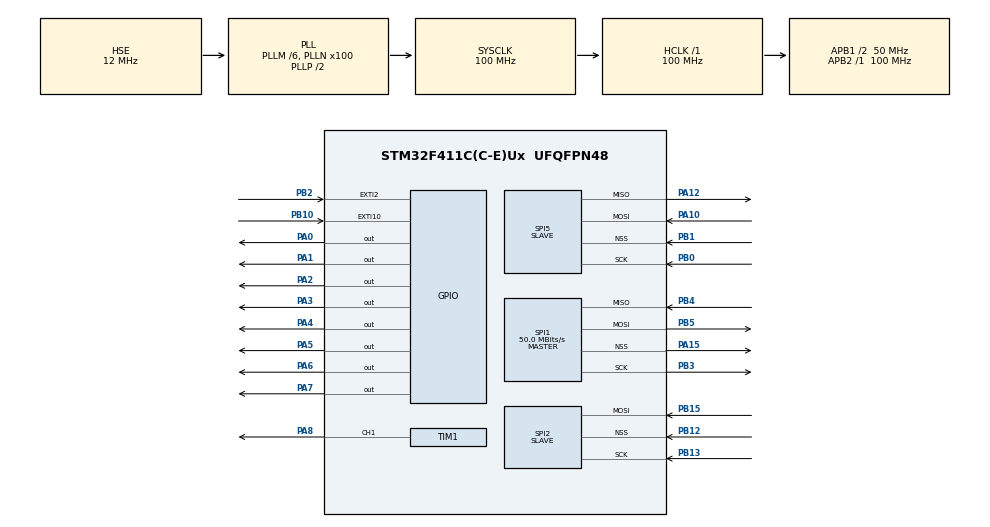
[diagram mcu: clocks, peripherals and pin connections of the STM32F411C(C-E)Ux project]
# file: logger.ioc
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Dma.Request0=SPI2_RX
Dma.Request1=SPI5_RX
Dma.Request2=TIM1_CH1
Dma.Request3=SPI1_TX
Dma.Request4=SPI1_RX
Dma.SPI1_RX.4.Direction=DMA_PERIPH_TO_MEMORY
Dma.SPI1_RX.4.FIFOMode=DMA_FIFOMODE_DISABLE
Dma.SPI1_RX.4.Instance=DMA2_Stream0
Dma.SPI1_RX.4.MemDataAlignment=DMA_MDATAALIGN_BYTE
Dma.SPI1_RX.4.MemInc=DMA_MINC_ENABLE
Dma.SPI1_RX.4.Mode=DMA_NORMAL
Dma.SPI1_RX.4.PeriphDataAlignment=DMA_PDATAALIGN_BYTE
Dma.SPI1_RX.4.PeriphInc=DMA_PINC_DISABLE
Dma.SPI1_RX.4.Priority=DMA_PRIORITY_LOW
Dma.SPI1_TX.3.Direction=DMA_MEMORY_TO_PERIPH
Dma.SPI1_TX.3.FIFOMode=DMA_FIFOMODE_DISABLE
Dma.SPI1_TX.3.Instance=DMA2_Stream2
Dma.SPI1_TX.3.MemDataAlignment=DMA_MDATAALIGN_BYTE
Dma.SPI1_TX.3.MemInc=DMA_MINC_ENABLE
Dma.SPI1_TX.3.Mode=DMA_NORMAL
Dma.SPI1_TX.3.PeriphDataAlignment=DMA_PDATAALIGN_BYTE
Dma.SPI1_TX.3.PeriphInc=DMA_PINC_DISABLE
Dma.SPI1_TX.3.Priority=DMA_PRIORITY_LOW
Dma.SPI2_RX.0.Direction=DMA_PERIPH_TO_MEMORY
Dma.SPI2_RX.0.FIFOMode=DMA_FIFOMODE_DISABLE
Dma.SPI2_RX.0.Instance=DMA1_Stream3
Dma.SPI2_RX.0.MemDataAlignment=DMA_MDATAALIGN_BYTE
Dma.SPI2_RX.0.MemInc=DMA_MINC_ENABLE
Dma.SPI2_RX.0.Mode=DMA_NORMAL
Dma.SPI2_RX.0.PeriphDataAlignment=DMA_PDATAALIGN_BYTE
Dma.SPI2_RX.0.PeriphInc=DMA_PINC_DISABLE
Dma.SPI2_RX.0.Priority=DMA_PRIORITY_LOW
Dma.SPI5_RX.1.Direction=DMA_PERIPH_TO_MEMORY
Dma.SPI5_RX.1.FIFOMode=DMA_FIFOMODE_DISABLE
Dma.SPI5_RX.1.Instance=DMA2_Stream3
Dma.SPI5_RX.1.MemDataAlignment=DMA_MDATAALIGN_BYTE
Dma.SPI5_RX.1.MemInc=DMA_MINC_ENABLE
Dma.SPI5_RX.1.Mode=DMA_NORMAL
Dma.SPI5_RX.1.PeriphDataAlignment=DMA_PDATAALIGN_BYTE
Dma.SPI5_RX.1.PeriphInc=DMA_PINC_DISABLE
Dma.SPI5_RX.1.Priority=DMA_PRIORITY_LOW
Dma.TIM1_CH1.2.Direction=DMA_MEMORY_TO_PERIPH
Dma.TIM1_CH1.2.FIFOMode=DMA_FIFOMODE_DISABLE
Dma.TIM1_CH1.2.Instance=DMA2_Stream1
Dma.TIM1_CH1.2.MemDataAlignment=DMA_MDATAALIGN_BYTE
Dma.TIM1_CH1.2.MemInc=DMA_MINC_ENABLE
Dma.TIM1_CH1.2.Mode=DMA_NORMAL
Dma.TIM1_CH1.2.PeriphDataAlignment=DMA_PDATAALIGN_BYTE
Dma.TIM1_CH1.2.PeriphInc=DMA_PINC_DISABLE
Dma.TIM1_CH1.2.Priority=DMA_PRIORITY_VERY_HIGH
FREERTOS.Tasks01=defaultTask,24,128,StartDefaultTask,Default,NULL,Dynamic,NULL,NULL
Mcu.Family=STM32F4
Mcu.Name=STM32F411C(C-E)Ux
Mcu.Package=UFQFPN48
NVIC.DMA1_Stream3_IRQn=true\:5\:0\:false\:false\:true\:true\:false\:true\:true
NVIC.DMA2_Stream0_IRQn=true\:5\:0\:false\:false\:true\:true\:false\:true\:true
NVIC.DMA2_Stream1_IRQn=true\:0\:0\:false\:false\:true\:false\:false\:true\:true
NVIC.DMA2_Stream2_IRQn=true\:5\:0\:false\:false\:true\:true\:false\:true\:true
NVIC.DMA2_Stream3_IRQn=true\:5\:0\:false\:false\:true\:true\:false\:true\:true
NVIC.EXTI15_10_IRQn=true\:5\:0\:false\:false\:true\:true\:true\:true\:true
NVIC.EXTI2_IRQn=true\:5\:0\:false\:false\:true\:true\:true\:true\:true
NVIC.PriorityGroup=NVIC_PRIORITYGROUP_4
NVIC.SPI2_IRQn=true\:5\:0\:false\:false\:true\:true\:true\:true\:true
NVIC.SPI5_IRQn=true\:5\:0\:false\:false\:true\:true\:true\:true\:true
NVIC.TIM2_IRQn=true\:15\:0\:false\:false\:true\:false\:false\:true\:true
NVIC.TimeBase=TIM2_IRQn
NVIC.TimeBaseIP=TIM2
PA0-WKUP.GPIO_PuPd=GPIO_NOPULL
PA0-WKUP.GPIO_Speed=GPIO_SPEED_FREQ_VERY_HIGH
PA0-WKUP.Signal=GPIO_Output
PA1.GPIO_PuPd=GPIO_NOPULL
PA1.GPIO_Speed=GPIO_SPEED_FREQ_VERY_HIGH
PA1.Signal=GPIO_Output
PA10.Mode=Full_Duplex_Slave
PA10.Signal=SPI5_MOSI
PA12.Mode=Full_Duplex_Slave
PA12.Signal=SPI5_MISO
PA13.Mode=Serial_Wire
PA13.Signal=SYS_JTMS-SWDIO
PA14.Mode=Serial_Wire
PA14.Signal=SYS_JTCK-SWCLK
PA15.Mode=NSS_Signal_Hard_Output
PA15.Signal=SPI1_NSS
PA2.GPIO_PuPd=GPIO_NOPULL
PA2.GPIO_Speed=GPIO_SPEED_FREQ_VERY_HIGH
PA2.Signal=GPIO_Output
PA3.GPIO_PuPd=GPIO_NOPULL
PA3.GPIO_Speed=GPIO_SPEED_FREQ_VERY_HIGH
PA3.Signal=GPIO_Output
PA4.GPIO_PuPd=GPIO_NOPULL
PA4.GPIO_Speed=GPIO_SPEED_FREQ_VERY_HIGH
PA4.Signal=GPIO_Output
PA5.GPIO_PuPd=GPIO_NOPULL
PA5.GPIO_Speed=GPIO_SPEED_FREQ_VERY_HIGH
PA5.Signal=GPIO_Output
PA6.GPIO_PuPd=GPIO_NOPULL
PA6.GPIO_Speed=GPIO_SPEED_FREQ_VERY_HIGH
PA6.Signal=GPIO_Output
PA7.GPIO_PuPd=GPIO_NOPULL
PA7.GPIO_Speed=GPIO_SPEED_FREQ_VERY_HIGH
PA7.PinState=GPIO_PIN_RESET
PA7.Signal=GPIO_Output
PA8.GPIO_PuPd=GPIO_NOPULL
PA8.GPIO_Speed=GPIO_SPEED_FREQ_VERY_HIGH
PA8.Signal=S_TIM1_CH1
PB0.Mode=Full_Duplex_Slave
PB0.Signal=SPI5_SCK
PB1.Mode=NSS_Signal_Hard_Input
PB1.Signal=SPI5_NSS
PB10.Signal=GPXTI10
PB12.Mode=NSS_Signal_Hard_Input
PB12.Signal=SPI2_NSS
PB13.Mode=RX_Only_Simplex_Unidirect_Slave
PB13.Signal=SPI2_SCK
PB15.Mode=RX_Only_Simplex_Unidirect_Slave
PB15.Signal=SPI2_MOSI
PB2.Signal=GPXTI2
PB3.Mode=Full_Duplex_Master
PB3.Signal=SPI1_SCK
PB4.Mode=Full_Duplex_Master
PB4.Signal=SPI1_MISO
PB5.Mode=Full_Duplex_Master
PB5.Signal=SPI1_MOSI
PH0\ -\ OSC_IN.Mode=HSE-External-Oscillator
PH0\ -\ OSC_IN.Signal=RCC_OSC_IN
PH1\ -\ OSC_OUT.Mode=HSE-External-Oscillator
PH1\ -\ OSC_OUT.Signal=RCC_OSC_OUT
ProjectManager.HeapSize=0x200
ProjectManager.StackSize=0x400
ProjectManager.TargetToolchain=CMake
RCC.48MHZClocksFreq_Value=50000000
RCC.AHBFreq_Value=100000000
RCC.APB1CLKDivider=RCC_HCLK_DIV2
RCC.APB1Freq_Value=50000000
RCC.APB1TimFreq_Value=100000000
RCC.APB2Freq_Value=100000000
RCC.APB2TimFreq_Value=100000000
RCC.CortexFreq_Value=100000000
RCC.HCLKFreq_Value=100000000
RCC.HSE_VALUE=12000000
RCC.HSI_VALUE=16000000
RCC.LSE_VALUE=32768
RCC.PLLM=6
RCC.PLLN=100
RCC.PLLSourceVirtual=RCC_PLLSOURCE_HSE
RCC.SYSCLKFreq_VALUE=100000000
RCC.SYSCLKSource=RCC_SYSCLKSOURCE_PLLCLK
RCC.VCOOutputFreq_Value=200000000
SH.S_TIM1_CH1.0=TIM1_CH1,PWM Generation1 CH1
SPI1.CLKPhase=SPI_PHASE_2EDGE
SPI1.CLKPolarity=SPI_POLARITY_HIGH
SPI1.CalculateBaudRate=50.0 MBits/s
SPI1.Direction=SPI_DIRECTION_2LINES
SPI1.Mode=SPI_MODE_MASTER
SPI1.VirtualNSS=VM_NSSHARD
SPI1.VirtualType=VM_MASTER
SPI2.CLKPhase=SPI_PHASE_2EDGE
SPI2.CLKPolarity=SPI_POLARITY_HIGH
SPI2.Direction=SPI_DIRECTION_2LINES_RXONLY
SPI2.Mode=SPI_MODE_SLAVE
SPI2.VirtualNSS=VM_NSSHARD
SPI2.VirtualType=VM_SLAVE
SPI5.CLKPhase=SPI_PHASE_2EDGE
SPI5.CLKPolarity=SPI_POLARITY_HIGH
SPI5.Direction=SPI_DIRECTION_2LINES
SPI5.Mode=SPI_MODE_SLAVE
SPI5.VirtualNSS=VM_NSSHARD
SPI5.VirtualType=VM_SLAVE
TIM1.Channel-PWM\ Generation1\ CH1=TIM_CHANNEL_1
TIM1.OCFastMode_PWM-PWM\ Generation1\ CH1=TIM_OCFAST_DISABLE
TIM1.Period=10
TIM1.Prescaler=1
TIM1.Pulse-PWM\ Generation1\ CH1=5
TIM1.TIM_MasterOutputTrigger=TIM_TRGO_OC1REF
TIM1.TIM_MasterSlaveMode=TIM_MASTERSLAVEMODE_DISABLE
VP_FATFS_VS_Generic.Mode=User_defined
VP_FREERTOS_VS_CMSIS_V2.Mode=CMSIS_V2
VP_SYS_VS_tim2.Mode=TIM2
board=custom

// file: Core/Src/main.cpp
/* USER CODE BEGIN Header */
/**
  ******************************************************************************
  * @file           : main.c
  * @brief          : Main program body
  ******************************************************************************
  * @attention
  *
  * Copyright (c) 2024 STMicroelectronics.
  * All rights reserved.
  *
  * This software is licensed under terms that can be found in the LICENSE file
  * in the root directory of this software component.
  * If no LICENSE file comes with this software, it is provided AS-IS.
  *
  ******************************************************************************
  */
/* USER CODE END Header */
#include "main.h"
#include "cmsis_os.h"
/* USER CODE BEGIN Includes */
//#include "GpioDriver.hpp"
#include "SpiSlave.hpp"
#include "Parallel.hpp"
#include "semphr.h"
#include "W25M02Gvz.h"
#include "Gpio.hpp"
/* USER CODE END Includes */

SPI_HandleTypeDef hspi1;
SPI_HandleTypeDef hspi2;
SPI_HandleTypeDef hspi5;
DMA_HandleTypeDef hdma_spi1_tx;
DMA_HandleTypeDef hdma_spi1_rx;
DMA_HandleTypeDef hdma_spi2_rx;
DMA_HandleTypeDef hdma_spi5_rx;

TIM_HandleTypeDef htim1;
DMA_HandleTypeDef hdma_tim1_ch1;

/* Definitions for defaultTask */
osThreadId_t defaultTaskHandle;
const osThreadAttr_t defaultTask_attributes = {
    .name = "defaultTask",
    .stack_size = 128 * 4,
    .priority = (osPriority_t) osPriorityNormal,
};
/* USER CODE BEGIN PV */
osThreadId_t defaultTaskHandle2;
const osThreadAttr_t defaultTask_attributes2 = {
    .name = "defaultTask2",
    .stack_size = 128 * 32,
    .priority = (osPriority_t) osPriorityNormal,
};
uint8_t spi_mpu_rx_buffer[512];
uint8_t spi_vpu_rx_buffer[128*128+30];
SpiSlave mpu_spi("mpu spi", hspi2);
SpiSlave vpu_spi("vpu spi", hspi5);
Parallel parallel("pc parallel", &hdma_tim1_ch1, TIM_DMA_CC1, &htim1, TIM_CHANNEL_1, (uint32_t)(&GPIOA->ODR));

uint32_t GetTime()
{
  return osKernelGetTickCount();
}

Gpio mem_nss("flash nss", GPIOA, GPIO_PIN_15);
W25M02Gvz mem("logger memory", hspi1, hdma_spi1_rx, hdma_spi1_tx, &mem_nss);
SemaphoreHandle_t dataReadySemaphore = xSemaphoreCreateBinary();
__attribute__((weak)) extern int Program(driver *board_devices[10], size_t number);
driver *board_devices[10];
/* USER CODE END PV */

void SystemClock_Config(void);
static void MX_GPIO_Init(void);
static void MX_DMA_Init(void);
static void MX_SPI2_Init(void);
static void MX_SPI5_Init(void);
static void MX_TIM1_Init(void);
static void MX_SPI1_Init(void);
void StartDefaultTask(void *argument);

/* USER CODE BEGIN PFP */

Task TestReceiveMpu()
{
  while (1)
  {
    mpu_spi.ReadAsync(spi_mpu_rx_buffer, 336);
    co_await mpu_spi.Await();
    if(mpu_spi.is_received_)
    {
//      printf("mpu is received\n");
    }
    else
    {
      printf("mpu is not received\n");
    }
  }
}
Task TestReceiveVpu()
{
  while (1)
  {
    vpu_spi.ReadAsync(spi_vpu_rx_buffer, 4);
    co_await vpu_spi.Await();
    if(vpu_spi.is_received_)
    {
      printf("vpu is received\n");
    }
    else
    {
      printf("vpu is not received\n");
    }
  }
}
/* USER CODE END PFP */

/* USER CODE BEGIN 0 */
void MpuSpiTask(void *argument)
{
  /* USER CODE BEGIN 5 */
  Program(board_devices, 10);
  /* Infinite loop */

//  Task mpu_task = TestReceiveMpu();
//  mpu_task.Start();
//  for(;;)
//  {
//    osThreadYield();
//    if (xSemaphoreTake(dataReadySemaphore, pdMS_TO_TICKS(100)) == pdTRUE) {
//
////            TIM1->CCMR1 = 0x00000010;
//      printf("start parallel\n");
////      osDelay(100);
//      parallel.WriteAsync(asrc_buffer, 49);
////      TIM1->CR1 |= TIM_CR1_CEN;
//
//
//    }
//    else{
//
//    }
//    vpu_spi.CheckResume();
//    mpu_spi.CheckResume();
//  }
  /* USER CODE END 5 */
}
/* USER CODE END 0 */

int main(void)
{

  /* MCU Configuration--------------------------------------------------------*/

  /* Reset of all peripherals, Initializes the Flash interface and the Systick. */
  HAL_Init();

  /* Configure the system clock */
  SystemClock_Config();

  /* Initialize all configured peripherals */
  MX_GPIO_Init();
  MX_DMA_Init();
  MX_SPI2_Init();
  MX_SPI5_Init();
  MX_TIM1_Init();
  MX_SPI1_Init();
  /* USER CODE BEGIN 2 */
  if (HAL_TIM_PWM_Stop(&htim1, TIM_CHANNEL_1) != HAL_OK)
  {
    /* PWM Generation Error */
    Error_Handler();
  }
  if(!mem.Init())
  {
    Error_Handler();
  }
//  mem.GlobalMemTest(spi_vpu_rx_buffer);
  board_devices[0] = &parallel;
  board_devices[1] = &vpu_spi;
  board_devices[2] = &mpu_spi;
  board_devices[3] = &mem;
  /* USER CODE END 2 */

  /* Init scheduler */
  osKernelInitialize();

  /* Create the thread(s) */
  /* creation of defaultTask */
  defaultTaskHandle = osThreadNew(StartDefaultTask, NULL, &defaultTask_attributes);

  /* USER CODE BEGIN RTOS_THREADS */
  /* add threads, ... */
  defaultTaskHandle2 = osThreadNew(MpuSpiTask, NULL, &defaultTask_attributes2);
  /* USER CODE END RTOS_THREADS */

  /* Start scheduler */
  osKernelStart();

  /* We should never get here as control is now taken by the scheduler */

  /* Infinite loop */
  while (1)
  {

  }
}

void SystemClock_Config(void)
{
  RCC_OscInitTypeDef RCC_OscInitStruct = {0};
  RCC_ClkInitTypeDef RCC_ClkInitStruct = {0};

  /** Configure the main internal regulator output voltage
  */
  __HAL_RCC_PWR_CLK_ENABLE();
  __HAL_PWR_VOLTAGESCALING_CONFIG(PWR_REGULATOR_VOLTAGE_SCALE1);

  /** Initializes the RCC Oscillators according to the specified parameters
  * in the RCC_OscInitTypeDef structure.
  */
  RCC_OscInitStruct.OscillatorType = RCC_OSCILLATORTYPE_HSE;
  RCC_OscInitStruct.HSEState = RCC_HSE_ON;
  RCC_OscInitStruct.PLL.PLLState = RCC_PLL_ON;
  RCC_OscInitStruct.PLL.PLLSource = RCC_PLLSOURCE_HSE;
  RCC_OscInitStruct.PLL.PLLM = 6;
  RCC_OscInitStruct.PLL.PLLN = 100;
  RCC_OscInitStruct.PLL.PLLP = RCC_PLLP_DIV2;
  RCC_OscInitStruct.PLL.PLLQ = 4;
  if (HAL_RCC_OscConfig(&RCC_OscInitStruct) != HAL_OK)
  {
    Error_Handler();
  }

  /** Initializes the CPU, AHB and APB buses clocks
  */
  RCC_ClkInitStruct.ClockType = RCC_CLOCKTYPE_HCLK|RCC_CLOCKTYPE_SYSCLK
      |RCC_CLOCKTYPE_PCLK1|RCC_CLOCKTYPE_PCLK2;
  RCC_ClkInitStruct.SYSCLKSource = RCC_SYSCLKSOURCE_PLLCLK;
  RCC_ClkInitStruct.AHBCLKDivider = RCC_SYSCLK_DIV1;
  RCC_ClkInitStruct.APB1CLKDivider = RCC_HCLK_DIV2;
  RCC_ClkInitStruct.APB2CLKDivider = RCC_HCLK_DIV1;

  if (HAL_RCC_ClockConfig(&RCC_ClkInitStruct, FLASH_LATENCY_3) != HAL_OK)
  {
    Error_Handler();
  }
}

static void MX_SPI1_Init(void)
{

  /* SPI1 parameter configuration*/
  hspi1.Instance = SPI1;
  hspi1.Init.Mode = SPI_MODE_MASTER;
  hspi1.Init.Direction = SPI_DIRECTION_2LINES;
  hspi1.Init.DataSize = SPI_DATASIZE_8BIT;
  hspi1.Init.CLKPolarity = SPI_POLARITY_HIGH;
  hspi1.Init.CLKPhase = SPI_PHASE_2EDGE;
  hspi1.Init.NSS = SPI_NSS_SOFT;
  hspi1.Init.BaudRatePrescaler = SPI_BAUDRATEPRESCALER_2;
  hspi1.Init.FirstBit = SPI_FIRSTBIT_MSB;
  hspi1.Init.TIMode = SPI_TIMODE_DISABLE;
  hspi1.Init.CRCCalculation = SPI_CRCCALCULATION_DISABLE;
  hspi1.Init.CRCPolynomial = 0;
  if (HAL_SPI_Init(&hspi1) != HAL_OK)
  {
    Error_Handler();
  }

}

static void MX_SPI2_Init(void)
{

  /* SPI2 parameter configuration*/
  hspi2.Instance = SPI2;
  hspi2.Init.Mode = SPI_MODE_SLAVE;
  hspi2.Init.Direction = SPI_DIRECTION_2LINES_RXONLY;
  hspi2.Init.DataSize = SPI_DATASIZE_8BIT;
  hspi2.Init.CLKPolarity = SPI_POLARITY_HIGH;
  hspi2.Init.CLKPhase = SPI_PHASE_2EDGE;
  hspi2.Init.NSS = SPI_NSS_HARD_INPUT;
  hspi2.Init.FirstBit = SPI_FIRSTBIT_MSB;
  hspi2.Init.TIMode = SPI_TIMODE_DISABLE;
  hspi2.Init.CRCCalculation = SPI_CRCCALCULATION_DISABLE;
  hspi2.Init.CRCPolynomial = 10;
  if (HAL_SPI_Init(&hspi2) != HAL_OK)
  {
    Error_Handler();
  }

}

static void MX_SPI5_Init(void)
{

  /* SPI5 parameter configuration*/
  hspi5.Instance = SPI5;
  hspi5.Init.Mode = SPI_MODE_SLAVE;
  hspi5.Init.Direction = SPI_DIRECTION_2LINES;
  hspi5.Init.DataSize = SPI_DATASIZE_8BIT;
  hspi5.Init.CLKPolarity = SPI_POLARITY_HIGH;
  hspi5.Init.CLKPhase = SPI_PHASE_2EDGE;
  hspi5.Init.NSS = SPI_NSS_HARD_INPUT;
  hspi5.Init.FirstBit = SPI_FIRSTBIT_MSB;
  hspi5.Init.TIMode = SPI_TIMODE_DISABLE;
  hspi5.Init.CRCCalculation = SPI_CRCCALCULATION_DISABLE;
  hspi5.Init.CRCPolynomial = 10;
  if (HAL_SPI_Init(&hspi5) != HAL_OK)
  {
    Error_Handler();
  }

}

static void MX_TIM1_Init(void)
{

  TIM_MasterConfigTypeDef sMasterConfig = {0};
  TIM_OC_InitTypeDef sConfigOC = {0};
  TIM_BreakDeadTimeConfigTypeDef sBreakDeadTimeConfig = {0};

  htim1.Instance = TIM1;
  htim1.Init.Prescaler = 1;
  htim1.Init.CounterMode = TIM_COUNTERMODE_UP;
  htim1.Init.Period = 10;
  htim1.Init.ClockDivision = TIM_CLOCKDIVISION_DIV1;
  htim1.Init.RepetitionCounter = 0;
  htim1.Init.AutoReloadPreload = TIM_AUTORELOAD_PRELOAD_DISABLE;
  if (HAL_TIM_PWM_Init(&htim1) != HAL_OK)
  {
    Error_Handler();
  }
  sMasterConfig.MasterOutputTrigger = TIM_TRGO_OC1REF;
  sMasterConfig.MasterSlaveMode = TIM_MASTERSLAVEMODE_DISABLE;
  if (HAL_TIMEx_MasterConfigSynchronization(&htim1, &sMasterConfig) != HAL_OK)
  {
    Error_Handler();
  }
  sConfigOC.OCMode = TIM_OCMODE_PWM1;
  sConfigOC.Pulse = 5;
  sConfigOC.OCPolarity = TIM_OCPOLARITY_HIGH;
  sConfigOC.OCNPolarity = TIM_OCNPOLARITY_HIGH;
  sConfigOC.OCFastMode = TIM_OCFAST_DISABLE;
  sConfigOC.OCIdleState = TIM_OCIDLESTATE_RESET;
  sConfigOC.OCNIdleState = TIM_OCNIDLESTATE_RESET;
  if (HAL_TIM_PWM_ConfigChannel(&htim1, &sConfigOC, TIM_CHANNEL_1) != HAL_OK)
  {
    Error_Handler();
  }
  sBreakDeadTimeConfig.OffStateRunMode = TIM_OSSR_DISABLE;
  sBreakDeadTimeConfig.OffStateIDLEMode = TIM_OSSI_DISABLE;
  sBreakDeadTimeConfig.LockLevel = TIM_LOCKLEVEL_OFF;
  sBreakDeadTimeConfig.DeadTime = 0;
  sBreakDeadTimeConfig.BreakState = TIM_BREAK_DISABLE;
  sBreakDeadTimeConfig.BreakPolarity = TIM_BREAKPOLARITY_HIGH;
  sBreakDeadTimeConfig.AutomaticOutput = TIM_AUTOMATICOUTPUT_DISABLE;
  if (HAL_TIMEx_ConfigBreakDeadTime(&htim1, &sBreakDeadTimeConfig) != HAL_OK)
  {
    Error_Handler();
  }
  HAL_TIM_MspPostInit(&htim1);

}

static void MX_DMA_Init(void)
{

  /* DMA controller clock enable */
  __HAL_RCC_DMA1_CLK_ENABLE();
  __HAL_RCC_DMA2_CLK_ENABLE();

  /* DMA interrupt init */
  /* DMA1_Stream3_IRQn interrupt configuration */
  HAL_NVIC_SetPriority(DMA1_Stream3_IRQn, 5, 0);
  HAL_NVIC_EnableIRQ(DMA1_Stream3_IRQn);
  /* DMA2_Stream0_IRQn interrupt configuration */
  HAL_NVIC_SetPriority(DMA2_Stream0_IRQn, 5, 0);
  HAL_NVIC_EnableIRQ(DMA2_Stream0_IRQn);
  /* DMA2_Stream1_IRQn interrupt configuration */
  HAL_NVIC_SetPriority(DMA2_Stream1_IRQn, 0, 0);
  HAL_NVIC_EnableIRQ(DMA2_Stream1_IRQn);
  /* DMA2_Stream2_IRQn interrupt configuration */
  HAL_NVIC_SetPriority(DMA2_Stream2_IRQn, 5, 0);
  HAL_NVIC_EnableIRQ(DMA2_Stream2_IRQn);
  /* DMA2_Stream3_IRQn interrupt configuration */
  HAL_NVIC_SetPriority(DMA2_Stream3_IRQn, 5, 0);
  HAL_NVIC_EnableIRQ(DMA2_Stream3_IRQn);

}

static void MX_GPIO_Init(void)
{
  GPIO_InitTypeDef GPIO_InitStruct = {0};

  /* GPIO Ports Clock Enable */
  __HAL_RCC_GPIOH_CLK_ENABLE();
  __HAL_RCC_GPIOA_CLK_ENABLE();
  __HAL_RCC_GPIOB_CLK_ENABLE();

  /*Configure GPIO pin Output Level */
  HAL_GPIO_WritePin(GPIOA, GPIO_PIN_0|GPIO_PIN_1|GPIO_PIN_2|GPIO_PIN_3
      |GPIO_PIN_4|GPIO_PIN_5|GPIO_PIN_6|GPIO_PIN_7, GPIO_PIN_RESET);

  /*Configure GPIO pins : PA0 PA1 PA2 PA3
                           PA4 PA5 PA6 PA7 */
  GPIO_InitStruct.Pin = GPIO_PIN_0|GPIO_PIN_1|GPIO_PIN_2|GPIO_PIN_3
      |GPIO_PIN_4|GPIO_PIN_5|GPIO_PIN_6|GPIO_PIN_7;
  GPIO_InitStruct.Mode = GPIO_MODE_OUTPUT_PP;
  GPIO_InitStruct.Pull = GPIO_NOPULL;
  GPIO_InitStruct.Speed = GPIO_SPEED_FREQ_VERY_HIGH;
  HAL_GPIO_Init(GPIOA, &GPIO_InitStruct);

  /*Configure GPIO pins : PB2 PB10 */
  GPIO_InitStruct.Pin = GPIO_PIN_2|GPIO_PIN_10;
  GPIO_InitStruct.Mode = GPIO_MODE_IT_RISING;
  GPIO_InitStruct.Pull = GPIO_NOPULL;
  HAL_GPIO_Init(GPIOB, &GPIO_InitStruct);

  /* EXTI interrupt init*/
  HAL_NVIC_SetPriority(EXTI2_IRQn, 5, 0);
  HAL_NVIC_EnableIRQ(EXTI2_IRQn);

  HAL_NVIC_SetPriority(EXTI15_10_IRQn, 5, 0);
  HAL_NVIC_EnableIRQ(EXTI15_10_IRQn);

}

void StartDefaultTask(void *argument)
{
  /* USER CODE BEGIN 5 */
  /* Infinite loop */

  for(;;)
  {
    osThreadYield();

  }
  /* USER CODE END 5 */
}

void HAL_TIM_PeriodElapsedCallback(TIM_HandleTypeDef *htim)
{
  if (htim->Instance == TIM2) {
    HAL_IncTick();
  }
}

void Error_Handler(void)
{
  __disable_irq();
  while (1)
  {
  }
}
